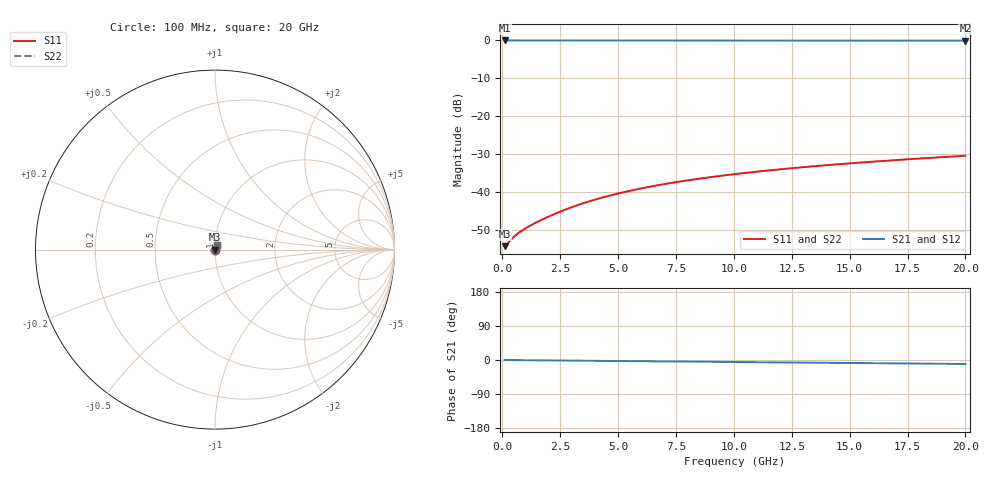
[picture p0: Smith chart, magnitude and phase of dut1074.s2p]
! Touchstone file exported from HFSS 2026.1.0
!  File:  C:/ffzhzh/LocalFiles/Ansys_Project_Files/temp_train_BSMRDL_1074_1783174335_18472.aedt
!  Generated:  10:13:26 PM Jul  4, 2026
!  Design:  BSMRDL
!  Project:  temp_train_BSMRDL_1074_1783174335_18472
! Variables:
!  h_bsmrdl = 3.62um
!  h_ox = 20um
!  h_rdl = 5um
!  h_sub = 80um
!  h_tmrdl = 5um
!  h_tsv = 80um
!  h_via = 3um
!  l_bsmrdl = 183.88um
!  l_sub = 583.88um
!  l_tmrdl = 200um
!  m_sub = 200um
!  pitch = 14.29um
!  r_tsv = 6um
!  s_tmrdl = 10um
!  w_bsmrdl = 10.3um
!  w_sub = 500um
!  w_tmrdl = 12um
!  x_tsv_center1 = 206um
!  x_tsv_center2 = 400.18um
!  x_tsv_center3 = 612.18um
!  x_tsv_center4 = 806.36um
!  x_tsv_center5 = 1018.36um
!  x_tsv_center6 = 1212.54um
# GHz S MA R 50.000000
! Terminal data exported
! Port[1] = BSM_RDL1_1_T1
! Port[2] = BSM_RDL1_1_T2
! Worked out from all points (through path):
!   200 points, 100 MHz to 20 GHz, reference 50 ohm
!   highest |S21| = -0.02 dB at 100 MHz (marker M1); lowest = -0.1 dB at 20 GHz (marker M2)
!   group delay of S21, straight-line fit = 1.45 ps
!   lowest |S11| = -54.3 dB at 100 MHz (marker M3), VSWR 1.00, Z = 50.2 + j0.0307 ohm
!   |S11| at or under -10 dB: start of sweep to end of sweep
!   |S22| runs from -54.3 to -30.5 dB; largest |S21 - S12| = 5e-15
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0.1  0.001919 9.2  0.9981 -0.1  0.9981 -0.1  0.001919 9.2
! Gamma 0 0 0 0
! Port Impedance 50 0 50 0
0.2  0.002041 16.9  0.998 -0.1  0.998 -0.1  0.002041 16.9
0.4  0.00238 27.0  0.9979 -0.2  0.9979 -0.2  0.00238 27.0
0.6  0.002717 32.8  0.9977 -0.3  0.9977 -0.3  0.002717 32.8
0.7  0.002871 35.0  0.9977 -0.4  0.9977 -0.4  0.002871 35.0
0.9  0.00316 38.8  0.9976 -0.5  0.9976 -0.5  0.00316 38.8
1.2  0.003574 43.6  0.9974 -0.7  0.9974 -0.7  0.003574 43.6
1.7  0.004278 50.1  0.9973 -0.9  0.9973 -0.9  0.004278 50.1
2.3  0.005177 55.7  0.9972 -1.3  0.9972 -1.3  0.005177 55.7
2.9  0.00612 59.5  0.997 -1.6  0.997 -1.6  0.00612 59.5
3.5  0.007086 62.0  0.9969 -1.9  0.9969 -1.9  0.007086 62.0
4.2  0.008223 64.0  0.9967 -2.3  0.9967 -2.3  0.008223 64.0
5  0.009518 65.4  0.9964 -2.7  0.9964 -2.7  0.009518 65.4
5.9  0.01096 66.3  0.9961 -3.2  0.9961 -3.2  0.01096 66.3
6.8  0.01236 66.7  0.9958 -3.7  0.9958 -3.7  0.01236 66.7
8.3  0.01464 66.9  0.9952 -4.5  0.9952 -4.5  0.01464 66.9
10.1  0.01724 66.7  0.9946 -5.4  0.9946 -5.4  0.01724 66.7
11.7  0.01945 66.3  0.994 -6.2  0.994 -6.2  0.01945 66.3
13.4  0.02172 65.8  0.9934 -7.1  0.9934 -7.1  0.02172 65.8
15  0.02379 65.3  0.9929 -7.9  0.9929 -7.9  0.02379 65.3
16.7  0.02593 64.8  0.9924 -8.8  0.9924 -8.8  0.02593 64.8
20  0.02997 63.8  0.9914 -10.5  0.9914 -10.5  0.02997 63.8
